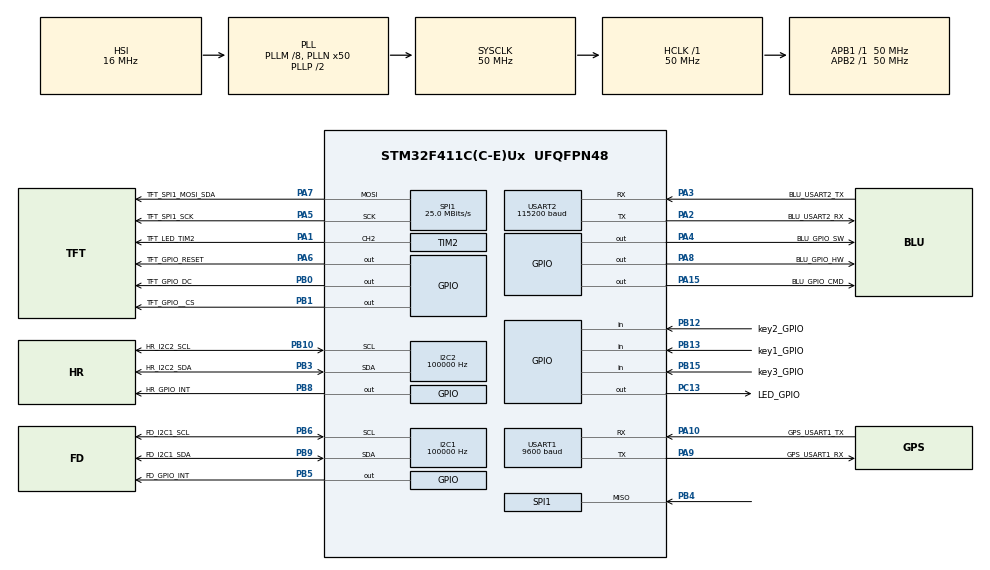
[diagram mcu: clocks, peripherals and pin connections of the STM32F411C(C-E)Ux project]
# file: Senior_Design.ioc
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I2C1.ClockSpeed=100000
I2C1.I2C_Mode=I2C_Standard
I2C2.ClockSpeed=100000
I2C2.I2C_Mode=I2C_Standard
I2C2.NoStretchMode=I2C_NOSTRETCH_DISABLE
Mcu.Family=STM32F4
Mcu.Name=STM32F411C(C-E)Ux
Mcu.Package=UFQFPN48
NVIC.PriorityGroup=NVIC_PRIORITYGROUP_4
NVIC.USART1_IRQn=true\:0\:0\:false\:false\:true\:true\:true
PA1.GPIO_Label=TFT_LED_TIM2
PA1.Signal=S_TIM2_CH2
PA10.GPIO_Label=GPS_USART1_TX
PA10.Mode=Asynchronous
PA10.Signal=USART1_RX
PA13.Mode=Serial_Wire
PA13.Signal=SYS_JTMS-SWDIO
PA14.Mode=Serial_Wire
PA14.Signal=SYS_JTCK-SWCLK
PA15.GPIO_Label=BLU_GPIO_CMD
PA15.Signal=GPIO_Output
PA2.GPIO_Label=BLU_USART2_RX
PA2.Mode=Asynchronous
PA2.Signal=USART2_TX
PA3.GPIO_Label=BLU_USART2_TX
PA3.Mode=Asynchronous
PA3.Signal=USART2_RX
PA4.GPIO_Label=BLU_GPIO_SW
PA4.Signal=GPIO_Output
PA5.GPIO_Label=TFT_SPI1_SCK
PA5.Mode=Full_Duplex_Master
PA5.Signal=SPI1_SCK
PA6.GPIO_Label=TFT_GPIO_RESET
PA6.Signal=GPIO_Output
PA7.GPIO_Label=TFT_SPI1_MOSI_SDA
PA7.Mode=Full_Duplex_Master
PA7.Signal=SPI1_MOSI
PA8.GPIO_Label=BLU_GPIO_HW
PA8.Signal=GPIO_Output
PA9.GPIO_Label=GPS_USART1_RX
PA9.Mode=Asynchronous
PA9.Signal=USART1_TX
PB0.GPIO_Label=TFT_GPIO_DC
PB0.Signal=GPIO_Output
PB1.GPIO_Label=TFT_GPIO__CS
PB1.Signal=GPIO_Output
PB10.GPIO_Label=HR_I2C2_SCL
PB10.GPIO_Pu=GPIO_PULLUP
PB10.Mode=I2C
PB10.Signal=I2C2_SCL
PB12.GPIO_Label=key2_GPIO
PB12.GPIO_PuPd=GPIO_PULLUP
PB12.Signal=GPIO_Input
PB13.GPIO_Label=key1_GPIO
PB13.GPIO_PuPd=GPIO_PULLUP
PB13.Signal=GPIO_Input
PB15.GPIO_Label=key3_GPIO
PB15.GPIO_PuPd=GPIO_PULLUP
PB15.Signal=GPIO_Input
PB3.GPIO_Label=HR_I2C2_SDA
PB3.GPIO_Pu=GPIO_PULLUP
PB3.Mode=I2C
PB3.Signal=I2C2_SDA
PB4.Mode=Full_Duplex_Master
PB4.Signal=SPI1_MISO
PB5.GPIO_Label=FD_GPIO_INT
PB5.Signal=GPIO_Output
PB6.GPIO_Label=FD_I2C1_SCL
PB6.GPIO_Pu=GPIO_PULLUP
PB6.Mode=I2C
PB6.Signal=I2C1_SCL
PB8.GPIO_Label=HR_GPIO_INT
PB8.Signal=GPIO_Output
PB9.GPIO_Label=FD_I2C1_SDA
PB9.GPIO_Pu=GPIO_PULLUP
PB9.Mode=I2C
PB9.Signal=I2C1_SDA
PC13-ANTI_TAMP.GPIO_Label=LED_GPIO
PC13-ANTI_TAMP.Signal=GPIO_Output
PC14-OSC32_IN.Mode=LSE-External-Oscillator
PC14-OSC32_IN.Signal=RCC_OSC32_IN
PC15-OSC32_OUT.Mode=LSE-External-Oscillator
PC15-OSC32_OUT.Signal=RCC_OSC32_OUT
PH0\ -\ OSC_IN.Mode=HSE-External-Oscillator
PH0\ -\ OSC_IN.Signal=RCC_OSC_IN
PH1\ -\ OSC_OUT.Mode=HSE-External-Oscillator
PH1\ -\ OSC_OUT.Signal=RCC_OSC_OUT
ProjectManager.HeapSize=0x200
ProjectManager.StackSize=0x400
ProjectManager.TargetToolchain=STM32CubeIDE
RCC.48MHZClocksFreq_Value=25000000
RCC.AHBFreq_Value=50000000
RCC.APB1Freq_Value=50000000
RCC.APB1TimFreq_Value=50000000
RCC.APB2Freq_Value=50000000
RCC.APB2TimFreq_Value=50000000
RCC.CortexFreq_Value=50000000
RCC.HCLKFreq_Value=50000000
RCC.HSE_VALUE=25000000
RCC.HSI_VALUE=16000000
RCC.PLLM=8
RCC.PLLN=50
RCC.RCC_MCO1Source=RCC_MCO1SOURCE_PLLCLK
RCC.RCC_MCODiv1=RCC_MCODIV_4
RCC.RCC_RTC_Clock_Source=RCC_RTCCLKSOURCE_LSI
RCC.RCC_RTC_Clock_SourceVirtual=RCC_RTCCLKSOURCE_LSE
RCC.RCC_RTC_Clock_Source_FROM_HSE=RCC_RTCCLKSOURCE_HSE_DIV25
RCC.SYSCLKFreq_VALUE=50000000
RCC.SYSCLKSource=RCC_SYSCLKSOURCE_PLLCLK
RCC.VCOOutputFreq_Value=100000000
SH.S_TIM2_CH2.0=TIM2_CH2,PWM Generation2 CH2
SPI1.BaudRatePrescaler=SPI_BAUDRATEPRESCALER_2
SPI1.CLKPhase=SPI_PHASE_1EDGE
SPI1.CLKPolarity=SPI_POLARITY_LOW
SPI1.CRCCalculation=SPI_CRCCALCULATION_DISABLE
SPI1.CalculateBaudRate=25.0 MBits/s
SPI1.Direction=SPI_DIRECTION_2LINES
SPI1.Mode=SPI_MODE_MASTER
SPI1.VirtualType=VM_MASTER
TIM2.Channel-PWM\ Generation2\ CH2=TIM_CHANNEL_2
TIM2.Period=500-1
TIM2.Prescaler=100-1
USART1.BaudRate=9600
USART1.VirtualMode=VM_ASYNC
USART2.BaudRate=115200
USART2.VirtualMode=VM_ASYNC
board=custom

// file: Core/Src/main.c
/* USER CODE BEGIN Header */
/**
  ******************************************************************************
  * @file           : main.c
  * @brief          : Main program body
  ******************************************************************************
  * @attention
  *
  * <h2><center>&copy; Copyright (c) 2021 STMicroelectronics.
  * All rights reserved.</center></h2>
  *
  * This software component is licensed by ST under BSD 3-Clause license,
  * the "License"; You may not use this file except in compliance with the
  * License. You may obtain a copy of the License at:
  *                        opensource.org/licenses/BSD-3-Clause
  *
  ******************************************************************************
  */
/* USER CODE END Header */
#include "main.h"

/* USER CODE BEGIN Includes */
#include "control.h"
#include "display.h"
#include "lcd.h"
#include "stdio.h"
#include "heart.h"
#include "temperature.h"
#include "gyro.h"
#include "gps.h"
/* USER CODE END Includes */

I2C_HandleTypeDef hi2c1;
I2C_HandleTypeDef hi2c2;

SPI_HandleTypeDef hspi1;

TIM_HandleTypeDef htim2;

UART_HandleTypeDef huart1;
UART_HandleTypeDef huart2;

void SystemClock_Config(void);
static void MX_GPIO_Init(void);
static void MX_USART1_UART_Init(void);
static void MX_SPI1_Init(void);
static void MX_USART2_UART_Init(void);
static void MX_TIM2_Init(void);
static void MX_I2C1_Init(void);
static void MX_I2C2_Init(void);

int main(void)
{
  /* USER CODE BEGIN 1 */
  unsigned char switch_value; //pushbottom value
  unsigned char selectedFlag = 100;
  unsigned char selection = 1;
  /* USER CODE END 1 */

  /* MCU Configuration--------------------------------------------------------*/

  /* Reset of all peripherals, Initializes the Flash interface and the Systick. */
  HAL_Init();

  /* Configure the system clock */
  SystemClock_Config();

  /* USER CODE BEGIN SysInit */
  HAL_I2C_DeInit(I2C1); // de-initialize I2C1 to remove busy flag
  HAL_I2C_DeInit(I2C2);	// de-initialize I2C1 to remove busy flag
  /* USER CODE END SysInit */

  /* Initialize all configured peripherals */
  MX_GPIO_Init();
  MX_USART1_UART_Init();
  MX_SPI1_Init();
  MX_USART2_UART_Init();
  MX_TIM2_Init();
  MX_I2C1_Init();
  MX_I2C2_Init();
  /* USER CODE BEGIN 2 */

  //LED light on to tell MCU start up
  HAL_GPIO_WritePin(LED_GPIO_GPIO_Port, LED_GPIO_Pin, GPIO_PIN_SET);
  HAL_GPIO_WritePin(HR_GPIO_INT_GPIO_Port, HR_GPIO_INT_Pin, GPIO_PIN_RESET); //connect HR_INT to active low
  //HAL_TIM_PWM_Start(&htim2, TIM_CHANNEL_2); //change to this for final
  //__HAL_TIM_SET_COMPARE(&htim2, TIM_CHANNEL_2, 300);
  HAL_TIM_PWM_Start(&htim2, TIM_CHANNEL_2);
  __HAL_TIM_SET_COMPARE(&htim2, TIM_CHANNEL_2, 500);
  //heart Sensor initialize registers
  //heart_init((I2C_HandleTypeDef *) &hi2c2);
  //temperature Sensor initialize registers
  //temper_init((I2C_HandleTypeDef *) &hi2c2);
  //gyro Sensor initialize registers
  //gyro_init((I2C_HandleTypeDef *) &hi2c1);
  //GPS init
  GPS_Init((UART_HandleTypeDef *) &huart1);

  screen_off = 0;
  unsigned char i = 0;
  unsigned char j = 0;
  unsigned char z = 0;
  unsigned char	i1=0;
  unsigned char	j1=0;
  unsigned char select1 = 1;
  unsigned char select2 = 1;
  unsigned char unit = 1;
  //char bluetoothTxBuffer[5] = "pur";
  //char bluetoothTxBuffernew[5];
  //uint8_t bluetoothRxBuffer[5] = {0};

  HeartInt();
  //latitude = -86.91;
  //longitude = 40.42;
  MENU_init(); //show start up menu
  //while(1)
  //{
  //	  HAL_UART_Transmit(&huart1, (uint8_t *) bluetoothTxBuffer, 3, 10);
  //	  HAL_UART_Receive(&huart1, (uint8_t *) bluetoothTxBuffernew, 3, 10);
  //}

  /* USER CODE END 2 */

  /* Infinite loop */
  /* USER CODE BEGIN WHILE */
  while (1)
  {
	  	// Turn on display if off
		switch_value =  Get_Key_value(0);
		if(screen_off == 1)
		{
			Display_On_Off(switch_value);
			continue;
		}

		//Counter to aviod update too fast
		if((i == 0) && (j == 0) && (z==0))
		{
			Get_Heart_data();
			//Get_Temperature_data();
			//Get_GyroAccel_data();
			Get_GPS_data();
			BlueStatus();
			MENU_main();
		}
		i++;
		if(i>=255)
		{
			i=0;
			j++;
		}
		if(j>=255)
		{
			z++;
			j = 0;
		}
		if(z>=5)
		{
			i=0;
			j=0;
			z=0;
		}

		//Selecte page to display
		selectedFlag = MENU_SELECTION(switch_value);
		switch(selectedFlag)
		{
			case SETTING :
				MENU_SETTING();
			    break;
			case TEMP :
			    MENU_TEMP();
			    break;
			case BLOOD :
			    MENU_BLOOD();
			    break;
			case HEART :
			    MENU_HEART();
			    break;
			case LAT :
			    MENU_LAT();
			    break;
			case LON :
			    MENU_LON();
			    break;
			case FALLD :
			    MENU_FALL();
			    break;
			case BLUEM :

				MENU_BLUET();
			    break;
			case POWER : //poweroff
				__HAL_TIM_SET_COMPARE(&htim2, TIM_CHANNEL_2, 0); //turn off display
				Refresh();
				screen_off = 1;
				selectedFlag = 100;
			    break;
			default:
				selectedFlag = 100;
				break;
		}

		// In non-main page, key 1 or key 3 return to main page, key 2 turn off display
		// Implement update variable here(you can write funtion like me to implement this or directly write here)
		if(selectedFlag == 1)
		{
			select1 = 1;
			select2 = 1;
			while (selectedFlag == 1)
			{
				switch_value =  Get_Key_value(0);
				if(switch_value == 1)
				{
					select1 ++;
				}
				else if (switch_value == 3)
				{
					select2 ++;
				}

				if(select1 >=3)
				{
					select1 = 1;
				}
				if(select2 >=3)
				{
					select2 = 1;
				}

				selectedFlag = SETTING_SELECTION(select1, select2, switch_value);

			}
		}

		i1=0;
		j1=0;
		while(selectedFlag != 100)
		{
			switch_value =  Get_Key_value(0);
			if((switch_value == 1) || (switch_value==3))
			{
				selectedFlag = 100;
				Refresh();
				break;
			}
			else if(switch_value == 2)
			{
				selectedFlag = 100;
				Display_On_Off(switch_value);
			}

			if((i1==0) && (j1==0))
			{
				// keep getting data from sensor even if not in the main page
				switch_value =  Get_Key_value(0);
				//Get_Temperature_data();
				//Get_GyroAccel_data();

				switch(selectedFlag)
				{
					//case SETTING :
						//LCD_ShowString (LCD_W/2,LCD_H/2,"SETTING", WHITE,	BLACK, 16,	1);
					//  break;
					case TEMP :
						//Get_Temperature_data();
						LCD_Fill(1,LCD_H/16*3,LCD_W/16*7,LCD_H/16*5,BLACK);
						LCD_Fill(1,LCD_H/16*5,LCD_W/16*7,LCD_H/16*7,BLACK);
						if((temperature < 28) || (temperature>38))
						{
							LCD_ShowFloatVar(LCD_W/16*1,LCD_H/16*3,temperature,temperature1, RED,BLACK,16); //show tempeature
							LCD_ShowFloatVar(LCD_W/16*1,LCD_H/16*5,temperatureUS,temperatureUS1, RED,BLACK,16); //show tempeature
						}
						else
						{
							LCD_ShowFloatVar(LCD_W/16*1,LCD_H/16*3,temperature,temperature1, WHITE,BLACK,16); //show tempeature
							LCD_ShowFloatVar(LCD_W/16*1,LCD_H/16*5,temperatureUS,temperatureUS1, WHITE,BLACK,16); //show tempeature
						}
					    break;
					case BLOOD :
						//Get_Heart_data();
						LCD_Fill(LCD_W/16*1,LCD_H/16*3,LCD_W/16*6,LCD_H/16*5,BLACK);
						if(blood_oxygen < 95)
						{
							LCD_ShowIntVar(LCD_W/16*1,LCD_H/16*3,blood_oxygen,blood_oxygen1, RED,BLACK,16); //show blood oxygen
						}
						else
						{
							LCD_ShowIntVar(LCD_W/16*1,LCD_H/16*3,blood_oxygen,blood_oxygen1, WHITE,BLACK,16); //show blood oxygen
						}
					    break;
					case HEART :
						//Get_Heart_data();
						LCD_Fill(LCD_W/16*1,LCD_H/16*3,LCD_W/16*6,LCD_H/16*5,BLACK);
						if((heart_rate < 60) || (heart_rate > 100))
						{
							LCD_ShowIntVar(LCD_W/16*1,LCD_H/16*3,heart_rate,heart_rate1, RED,BLACK,16); //show heart rate
						}
						else
						{
							LCD_ShowIntVar(LCD_W/16*1,LCD_H/16*3,heart_rate,heart_rate1, WHITE,BLACK,16); //show heart rate
						}
					    break;
					case LAT :
						if(latitude == 0 && longitude == 0)
						{
							LCD_ShowString (LCD_W/16*9,LCD_H/16*3,"No Conn.", RED,	BLACK, 12,	1);
							LCD_ShowString (LCD_W/16*9,LCD_H/16*5,"No Conn.", RED,	BLACK, 12,	1);
						}
						else
						{
							LCD_ShowFloatVar(LCD_W/16*9,LCD_H/16*3,latitude,latitude1, WHITE,BLACK,16);
							LCD_ShowFloatVar(LCD_W/16*9,LCD_H/16*5,longitude,longitude1, WHITE,BLACK,16);
						}
						//LCD_ShowString (LCD_W/2,LCD_H/2,"LAT", WHITE,	BLACK, 16,	1);
					    break;
					case LON :
						if(latitude == 0 && longitude == 0)
						{
							LCD_ShowString (LCD_W/16*9,LCD_H/16*3,"No Conn.", RED,	BLACK, 12,	1);
							LCD_ShowString (LCD_W/16*9,LCD_H/16*5,"No Conn.", RED,	BLACK, 12,	1);
						}
						else
						{
							LCD_ShowFloatVar(LCD_W/16*9,LCD_H/16*3,latitude,latitude1, WHITE,BLACK,16);
							LCD_ShowFloatVar(LCD_W/16*9,LCD_H/16*5,longitude,longitude1, WHITE,BLACK,16);
						}
						//LCD_ShowString (LCD_W/2,LCD_H/2,"LON", WHITE,	BLACK, 16,	1);
					    break;
					case FALLD :
						LCD_Fill(LCD_W/16*7,LCD_H/16*3,LCD_W/16*11,LCD_H/16*5,BLACK);
						//Get_GyroAccel_data();
						if(fall == 1)
						{
							LCD_ShowString (LCD_W/16*7,LCD_H/16*3,"YES", RED, BLACK, 16,	1);
						}
						else
						{
							LCD_ShowString (LCD_W/16*7,LCD_H/16*3,"NO", WHITE,BLACK, 16,	1);
						}
					    break;
					case BLUEM :
						LCD_Fill(LCD_W/16*7,LCD_H/16*3,LCD_W/16*11,LCD_H/16*5,BLACK);
						//BlueStatus();
						if(blueOn == 1)
						{
							LCD_ShowString (LCD_W/16*7,LCD_H/16*3,"ON", WHITE, BLACK, 16,	1);
						}
						else
						{
							LCD_ShowString (LCD_W/16*7,LCD_H/16*3,"OFF", WHITE,BLACK, 16,	1);
						}
					    break;
					default:
						selectedFlag = 100;
						break;
				}
				Get_GPS_data();
				BlueStatus();
				Get_Heart_data();
			}

			i1++;
			if(i1>=255)
			{
				i1=0;
				j1++;
			}
			if(j1>=255)
			{
				i1=0;
				j1=0;
			}
		}

    /* USER CODE END WHILE */

  }
}

void SystemClock_Config(void)
{
  RCC_OscInitTypeDef RCC_OscInitStruct = {0};
  RCC_ClkInitTypeDef RCC_ClkInitStruct = {0};

  /** Configure the main internal regulator output voltage
  */
  __HAL_RCC_PWR_CLK_ENABLE();
  __HAL_PWR_VOLTAGESCALING_CONFIG(PWR_REGULATOR_VOLTAGE_SCALE1);
  /** Initializes the RCC Oscillators according to the specified parameters
  * in the RCC_OscInitTypeDef structure.
  */
  RCC_OscInitStruct.OscillatorType = RCC_OSCILLATORTYPE_HSI;
  RCC_OscInitStruct.HSIState = RCC_HSI_ON;
  RCC_OscInitStruct.HSICalibrationValue = RCC_HSICALIBRATION_DEFAULT;
  RCC_OscInitStruct.PLL.PLLState = RCC_PLL_ON;
  RCC_OscInitStruct.PLL.PLLSource = RCC_PLLSOURCE_HSI;
  RCC_OscInitStruct.PLL.PLLM = 8;
  RCC_OscInitStruct.PLL.PLLN = 50;
  RCC_OscInitStruct.PLL.PLLP = RCC_PLLP_DIV2;
  RCC_OscInitStruct.PLL.PLLQ = 4;
  if (HAL_RCC_OscConfig(&RCC_OscInitStruct) != HAL_OK)
  {
    Error_Handler();
  }
  /** Initializes the CPU, AHB and APB buses clocks
  */
  RCC_ClkInitStruct.ClockType = RCC_CLOCKTYPE_HCLK|RCC_CLOCKTYPE_SYSCLK
                              |RCC_CLOCKTYPE_PCLK1|RCC_CLOCKTYPE_PCLK2;
  RCC_ClkInitStruct.SYSCLKSource = RCC_SYSCLKSOURCE_PLLCLK;
  RCC_ClkInitStruct.AHBCLKDivider = RCC_SYSCLK_DIV1;
  RCC_ClkInitStruct.APB1CLKDivider = RCC_HCLK_DIV1;
  RCC_ClkInitStruct.APB2CLKDivider = RCC_HCLK_DIV1;

  if (HAL_RCC_ClockConfig(&RCC_ClkInitStruct, FLASH_LATENCY_1) != HAL_OK)
  {
    Error_Handler();
  }
}

static void MX_I2C1_Init(void)
{

  hi2c1.Instance = I2C1;
  hi2c1.Init.ClockSpeed = 100000;
  hi2c1.Init.DutyCycle = I2C_DUTYCYCLE_2;
  hi2c1.Init.OwnAddress1 = 0;
  hi2c1.Init.AddressingMode = I2C_ADDRESSINGMODE_7BIT;
  hi2c1.Init.DualAddressMode = I2C_DUALADDRESS_DISABLE;
  hi2c1.Init.OwnAddress2 = 0;
  hi2c1.Init.GeneralCallMode = I2C_GENERALCALL_DISABLE;
  hi2c1.Init.NoStretchMode = I2C_NOSTRETCH_DISABLE;
  if (HAL_I2C_Init(&hi2c1) != HAL_OK)
  {
    Error_Handler();
  }

}

static void MX_I2C2_Init(void)
{

  hi2c2.Instance = I2C2;
  hi2c2.Init.ClockSpeed = 100000;
  hi2c2.Init.DutyCycle = I2C_DUTYCYCLE_2;
  hi2c2.Init.OwnAddress1 = 0;
  hi2c2.Init.AddressingMode = I2C_ADDRESSINGMODE_7BIT;
  hi2c2.Init.DualAddressMode = I2C_DUALADDRESS_DISABLE;
  hi2c2.Init.OwnAddress2 = 0;
  hi2c2.Init.GeneralCallMode = I2C_GENERALCALL_DISABLE;
  hi2c2.Init.NoStretchMode = I2C_NOSTRETCH_DISABLE;
  if (HAL_I2C_Init(&hi2c2) != HAL_OK)
  {
    Error_Handler();
  }

}

static void MX_SPI1_Init(void)
{

  /* SPI1 parameter configuration*/
  hspi1.Instance = SPI1;
  hspi1.Init.Mode = SPI_MODE_MASTER;
  hspi1.Init.Direction = SPI_DIRECTION_2LINES;
  hspi1.Init.DataSize = SPI_DATASIZE_8BIT;
  hspi1.Init.CLKPolarity = SPI_POLARITY_LOW;
  hspi1.Init.CLKPhase = SPI_PHASE_1EDGE;
  hspi1.Init.NSS = SPI_NSS_SOFT;
  hspi1.Init.BaudRatePrescaler = SPI_BAUDRATEPRESCALER_2;
  hspi1.Init.FirstBit = SPI_FIRSTBIT_MSB;
  hspi1.Init.TIMode = SPI_TIMODE_DISABLE;
  hspi1.Init.CRCCalculation = SPI_CRCCALCULATION_DISABLE;
  hspi1.Init.CRCPolynomial = 10;
  if (HAL_SPI_Init(&hspi1) != HAL_OK)
  {
    Error_Handler();
  }
  /* USER CODE BEGIN SPI1_Init 2 */
  //__HAL_SPI_ENABLE(&hspi1);
  /* USER CODE END SPI1_Init 2 */

}

static void MX_TIM2_Init(void)
{

  TIM_MasterConfigTypeDef sMasterConfig = {0};
  TIM_OC_InitTypeDef sConfigOC = {0};

  htim2.Instance = TIM2;
  htim2.Init.Prescaler = 100-1;
  htim2.Init.CounterMode = TIM_COUNTERMODE_UP;
  htim2.Init.Period = 500-1;
  htim2.Init.ClockDivision = TIM_CLOCKDIVISION_DIV1;
  htim2.Init.AutoReloadPreload = TIM_AUTORELOAD_PRELOAD_DISABLE;
  if (HAL_TIM_PWM_Init(&htim2) != HAL_OK)
  {
    Error_Handler();
  }
  sMasterConfig.MasterOutputTrigger = TIM_TRGO_RESET;
  sMasterConfig.MasterSlaveMode = TIM_MASTERSLAVEMODE_DISABLE;
  if (HAL_TIMEx_MasterConfigSynchronization(&htim2, &sMasterConfig) != HAL_OK)
  {
    Error_Handler();
  }
  sConfigOC.OCMode = TIM_OCMODE_PWM1;
  sConfigOC.Pulse = 0;
  sConfigOC.OCPolarity = TIM_OCPOLARITY_HIGH;
  sConfigOC.OCFastMode = TIM_OCFAST_DISABLE;
  if (HAL_TIM_PWM_ConfigChannel(&htim2, &sConfigOC, TIM_CHANNEL_2) != HAL_OK)
  {
    Error_Handler();
  }
  HAL_TIM_MspPostInit(&htim2);

}

static void MX_USART1_UART_Init(void)
{

  huart1.Instance = USART1;
  huart1.Init.BaudRate = 9600;
  huart1.Init.WordLength = UART_WORDLENGTH_8B;
  huart1.Init.StopBits = UART_STOPBITS_1;
  huart1.Init.Parity = UART_PARITY_NONE;
  huart1.Init.Mode = UART_MODE_TX_RX;
  huart1.Init.HwFlowCtl = UART_HWCONTROL_NONE;
  huart1.Init.OverSampling = UART_OVERSAMPLING_16;
  if (HAL_UART_Init(&huart1) != HAL_OK)
  {
    Error_Handler();
  }

}

static void MX_USART2_UART_Init(void)
{

  huart2.Instance = USART2;
  huart2.Init.BaudRate = 115200;
  huart2.Init.WordLength = UART_WORDLENGTH_8B;
  huart2.Init.StopBits = UART_STOPBITS_1;
  huart2.Init.Parity = UART_PARITY_NONE;
  huart2.Init.Mode = UART_MODE_TX_RX;
  huart2.Init.HwFlowCtl = UART_HWCONTROL_NONE;
  huart2.Init.OverSampling = UART_OVERSAMPLING_16;
  if (HAL_UART_Init(&huart2) != HAL_OK)
  {
    Error_Handler();
  }

}

static void MX_GPIO_Init(void)
{
  GPIO_InitTypeDef GPIO_InitStruct = {0};

  /* GPIO Ports Clock Enable */
  __HAL_RCC_GPIOC_CLK_ENABLE();
  __HAL_RCC_GPIOH_CLK_ENABLE();
  __HAL_RCC_GPIOA_CLK_ENABLE();
  __HAL_RCC_GPIOB_CLK_ENABLE();

  /*Configure GPIO pin Output Level */
  HAL_GPIO_WritePin(LED_GPIO_GPIO_Port, LED_GPIO_Pin, GPIO_PIN_RESET);

  /*Configure GPIO pin Output Level */
  HAL_GPIO_WritePin(GPIOA, BLU_GPIO_SW_Pin|TFT_GPIO_RESET_Pin|BLU_GPIO_HW_Pin|BLU_GPIO_CMD_Pin, GPIO_PIN_RESET);

  /*Configure GPIO pin Output Level */
  HAL_GPIO_WritePin(GPIOB, TFT_GPIO_DC_Pin|TFT_GPIO__CS_Pin|FD_GPIO_INT_Pin|HR_GPIO_INT_Pin, GPIO_PIN_RESET);

  /*Configure GPIO pin : LED_GPIO_Pin */
  GPIO_InitStruct.Pin = LED_GPIO_Pin;
  GPIO_InitStruct.Mode = GPIO_MODE_OUTPUT_PP;
  GPIO_InitStruct.Pull = GPIO_NOPULL;
  GPIO_InitStruct.Speed = GPIO_SPEED_FREQ_LOW;
  HAL_GPIO_Init(LED_GPIO_GPIO_Port, &GPIO_InitStruct);

  /*Configure GPIO pins : BLU_GPIO_SW_Pin TFT_GPIO_RESET_Pin BLU_GPIO_HW_Pin BLU_GPIO_CMD_Pin */
  GPIO_InitStruct.Pin = BLU_GPIO_SW_Pin|TFT_GPIO_RESET_Pin|BLU_GPIO_HW_Pin|BLU_GPIO_CMD_Pin;
  GPIO_InitStruct.Mode = GPIO_MODE_OUTPUT_PP;
  GPIO_InitStruct.Pull = GPIO_NOPULL;
  GPIO_InitStruct.Speed = GPIO_SPEED_FREQ_LOW;
  HAL_GPIO_Init(GPIOA, &GPIO_InitStruct);

  /*Configure GPIO pins : TFT_GPIO_DC_Pin TFT_GPIO__CS_Pin FD_GPIO_INT_Pin HR_GPIO_INT_Pin */
  GPIO_InitStruct.Pin = TFT_GPIO_DC_Pin|TFT_GPIO__CS_Pin|FD_GPIO_INT_Pin|HR_GPIO_INT_Pin;
  GPIO_InitStruct.Mode = GPIO_MODE_OUTPUT_PP;
  GPIO_InitStruct.Pull = GPIO_NOPULL;
  GPIO_InitStruct.Speed = GPIO_SPEED_FREQ_LOW;
  HAL_GPIO_Init(GPIOB, &GPIO_InitStruct);

  /*Configure GPIO pins : key2_GPIO_Pin key1_GPIO_Pin key3_GPIO_Pin */
  GPIO_InitStruct.Pin = key2_GPIO_Pin|key1_GPIO_Pin|key3_GPIO_Pin;
  GPIO_InitStruct.Mode = GPIO_MODE_INPUT;
  GPIO_InitStruct.Pull = GPIO_PULLUP;
  HAL_GPIO_Init(GPIOB, &GPIO_InitStruct);

}

void Error_Handler(void)
{
  __disable_irq();
  while (1)
  {
  }
}

/************************ (C) COPYRIGHT STMicroelectronics *****END OF FILE****/
